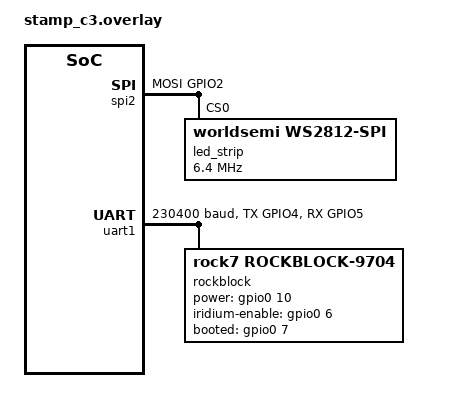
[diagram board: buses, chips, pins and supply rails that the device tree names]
/* M5Stamp-C3: the modem on uart1, GPIO4 (TX) and GPIO5 (RX), with its
 * three control lines on GPIO10 (P_EN), GPIO6 (I_EN) and GPIO7 (I_BTD). The
 * console stays on uart0 through the board's USB bridge; with
 * overlay-wifi.conf the shell is on telnet as well, for a board with power
 * and no USB.
 *
 * The board's RGB LED, an SK6812 on GPIO2, is driven by spi2 with MOSI
 * alone on that pin (src/indicator.c); the board's own spi2 pins put SCLK
 * on GPIO4, the modem's TX. The button on GPIO3 is the board's sw0.
 *
 * Kept clear: GPIO8 and 9 (strapping, and the I2C), GPIO18 and 19 (USB),
 * GPIO20 and 21 (the console).
 *
 * docs/boards/stamp_c3.md has the wiring, the WiFi set-up and the LED. */

#include <zephyr/dt-bindings/led/led.h>

&pinctrl {
	spim2_led: spim2_led {
		group1 {
			pinmux = <SPIM2_MOSI_GPIO2>;
			output-low;
		};
	};

	uart1_rb9704: uart1_rb9704 {
		group1 {
			pinmux = <UART1_TX_GPIO4>;
			output-high;
		};
		group2 {
			pinmux = <UART1_RX_GPIO5>;
			bias-pull-up;
		};
	};
};

/ {
	aliases {
		led-strip = &led_strip;
	};
};

&spi2 {
	pinctrl-0 = <&spim2_led>;
	pinctrl-names = "default";
	/* The SK6812 reads a high idle line as data. */
	line-idle-low;

	led_strip: ws2812@0 {
		compatible = "worldsemi,ws2812-spi";
		reg = <0>;
		spi-max-frequency = <6400000>;
		chain-length = <1>;
		spi-cpha;
		spi-one-frame = <0xf0>;		/* 625 ns high, 625 ns low */
		spi-zero-frame = <0xc0>;	/* 312.5 ns high, 937.5 ns low */
		color-mapping = <LED_COLOR_ID_GREEN LED_COLOR_ID_RED LED_COLOR_ID_BLUE>;
	};
};

&uart1 {
	pinctrl-0 = <&uart1_rb9704>;
	pinctrl-names = "default";
	current-speed = <230400>;
	status = "okay";

	rockblock {
		compatible = "rock7,rockblock-9704";
		power-gpios = <&gpio0 10 GPIO_ACTIVE_HIGH>;		/* P_EN */
		iridium-enable-gpios = <&gpio0 6 GPIO_ACTIVE_HIGH>;	/* I_EN */
		booted-gpios = <&gpio0 7 GPIO_ACTIVE_HIGH>;		/* I_BTD */
	};
};
